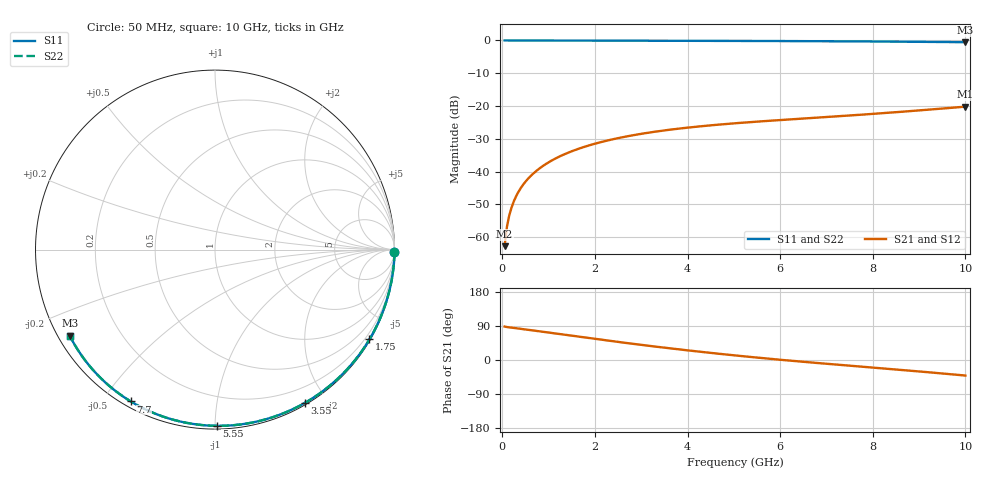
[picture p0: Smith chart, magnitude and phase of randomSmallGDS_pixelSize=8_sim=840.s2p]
! freq	dB(S11)	phase(S11)	dB(S12)	phase(S12)
!  dB(S21)	phase(S21)	dB(S22)	phase(S22)
!S-par simulation data
#  GHz  S  DB  R 50
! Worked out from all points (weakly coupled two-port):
!   200 points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, 50 MHz to 10 GHz, reference 50 ohm
!   highest |S21| = -20.18 dB at 10 GHz (marker M1); lowest = -62.7 dB at 50 MHz (marker M2)
!   lowest |S11| = -0.5 dB at 10 GHz (marker M3), VSWR 32.85, Z = 1.64 - j13.7 ohm
!   |S11| at or under -10 dB: nowhere
!   |S22| runs from -0.5 to 0.0 dB; largest |S21 - S12| = 0
!   S11 on the Smith chart (normalised r, x): 50 MHz: open; 1.75 GHz: 0.03, -3.71; 3.55 GHz: 0.02, -1.75; 5.55 GHz: 0.02, -1.01; 7.7 GHz: 0.02, -0.59; 10 GHz: 0.03, -0.27
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0.05  -0.00 -0.9  -62.71 88.2  -62.71 88.2  -0.00 -0.9
0.1  -0.00 -1.8  -56.79 87.0  -56.79 87.0  -0.00 -1.8
0.15  -0.00 -2.6  -53.35 86.1  -53.35 86.1  -0.00 -2.6
0.2  -0.00 -3.5  -50.91 85.3  -50.91 85.3  -0.00 -3.5
0.25  -0.00 -4.4  -49.00 84.6  -49.00 84.6  -0.00 -4.4
0.35  -0.00 -6.1  -46.12 83.0  -46.12 83.0  -0.00 -6.1
0.5  -0.01 -8.7  -43.06 80.7  -43.06 80.7  -0.01 -8.7
0.7  -0.01 -12.2  -40.18 77.4  -40.18 77.4  -0.01 -12.2
1  -0.02 -17.4  -37.15 72.3  -37.15 72.3  -0.02 -17.4
1.35  -0.03 -23.4  -34.64 66.4  -34.64 66.4  -0.03 -23.4
1.75  -0.04 -30.2  -32.53 59.8  -32.53 59.8  -0.04 -30.2
2.5  -0.06 -42.6  -29.78 47.7  -29.78 47.7  -0.06 -42.6
3.4  -0.08 -57.1  -27.62 34.0  -27.62 34.0  -0.08 -57.1
3.55  -0.09 -59.5  -27.33 31.8  -27.33 31.8  -0.09 -59.5
4.3  -0.11 -71.1  -26.14 21.4  -26.14 21.4  -0.11 -71.1
5.05  -0.14 -82.2  -25.22 11.8  -25.22 11.8  -0.14 -82.2
5.55  -0.16 -89.5  -24.70 5.8  -24.70 5.8  -0.16 -89.5
6.7  -0.22 -105.5  -23.62 -6.9  -23.62 -6.9  -0.22 -105.5
7.7  -0.29 -119.0  -22.69 -17.0  -22.69 -17.0  -0.29 -119.0
8.35  -0.34 -127.6  -22.03 -23.5  -22.03 -23.5  -0.34 -127.6
9.2  -0.43 -138.8  -21.11 -32.3  -21.11 -32.3  -0.43 -138.7
10  -0.53 -149.3  -20.18 -41.0  -20.18 -41.0  -0.53 -149.3
